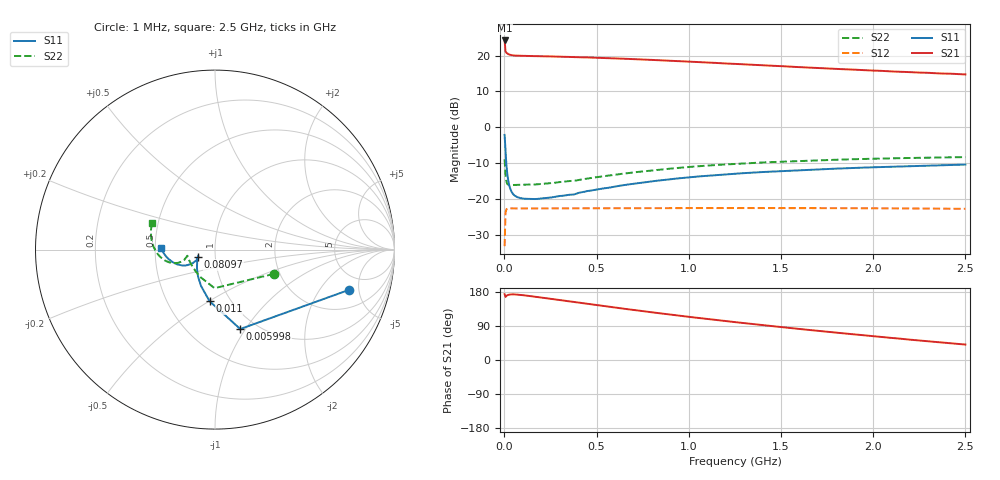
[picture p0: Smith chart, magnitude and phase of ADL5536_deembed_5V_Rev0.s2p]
!Agilent Technologies,N5230A,MY45000942,A.07.12.01
!Agilent N5230A: A.07.12.01
!Date: Thursday, January 07, 2010 11:00:11
!Correction: S11(Full 2 Port(1,2))
!S21(Full 2 Port(1,2))
!S12(Full 2 Port(1,2))
!S22(Full 2 Port(1,2))
!S2P File: Measurements: S11, S21, S12, S22:
# Hz S  dB  R 50
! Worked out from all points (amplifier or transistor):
!   501 points, 1 MHz to 2.5 GHz, reference 50 ohm
!   highest |S21| = 24.2 dB at 1 MHz (marker M1)
!   |S21| within 3 dB of that: start of sweep to 5.84 MHz
!   unconditionally stable (mu >= 1): 22.69 MHz to 886.1 MHz; 1.812 GHz to end of sweep
!   at 415.8 MHz: K = 1.03, MAG = 20.0 dB, |S12| = -22.6 dB
!   at 1.25 GHz: K = 0.99, MSG = 20.1 dB, |S12| = -22.6 dB
!   at 2.5 GHz: K = 1.07, MAG = 17.2 dB, |S12| = -22.8 dB
!   S11 on the Smith chart (normalised r, x): 1 MHz: 3.42, -3.92; 5.998 MHz: 0.84, -0.95; 11 MHz: 0.80, -0.50; 80.97 MHz: 0.82, -0.07; 2.5 GHz: 0.54, +0.01
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1000000  -2.16 -16.7  24.20 173.7  -33.22 47.9  -8.97 -22.3
5998000  -6.67 -72.4  21.10 166.6  -23.86 26.7  -13.35 -90.7
1.0996e7  -10.77 -95.9  20.77 169.4  -22.93 15.4  -15.25 -119.2
1.5994e7  -13.25 -110.9  20.56 171.1  -22.72 10.2  -15.88 -133.6
2.0992e7  -14.97 -121.8  20.39 172.0  -22.67 7.3  -16.08 -142.3
3.0988e7  -17.09 -136.0  20.20 172.8  -22.66 4.3  -16.16 -152.3
4.0984e7  -18.24 -144.4  20.06 173.2  -22.67 2.7  -16.15 -157.8
8.0968e7  -19.72 -157.1  19.93 172.0  -22.69 -0.2  -16.12 -165.7
2.85886e8  -19.35 -154.7  19.71 159.1  -22.65 -6.9  -15.43 -163.8
4.20832e8  -18.16 -149.9  19.49 150.1  -22.63 -10.7  -14.59 -160.7
5.35786e8  -17.10 -149.3  19.32 142.5  -22.64 -13.8  -13.70 -160.3
6.35746e8  -16.27 -149.0  19.12 136.2  -22.62 -16.5  -13.04 -160.5
7.40704e8  -15.53 -149.9  18.90 129.5  -22.62 -19.4  -12.41 -161.7
8.35666e8  -14.91 -151.1  18.68 123.7  -22.60 -22.0  -11.90 -163.1
1.015594e9  -13.94 -153.8  18.27 113.0  -22.59 -27.0  -11.06 -166.8
1.2505e9  -13.00 -158.1  17.66 100.0  -22.58 -33.7  -10.24 -172.3
1.420432e9  -12.47 -161.5  17.21 91.0  -22.60 -38.6  -9.81 -176.6
1.670332e9  -11.86 -166.0  16.59 78.4  -22.60 -45.7  -9.30 177.4
1.930228e9  -11.32 -170.8  15.97 66.0  -22.64 -53.3  -8.90 170.8
2.085166e9  -11.05 -173.7  15.60 58.8  -22.67 -57.9  -8.72 166.9
2.30008e9  -10.73 -177.6  15.16 49.2  -22.73 -64.3  -8.51 161.7
2.5e9  -10.44 178.8  14.72 40.7  -22.78 -70.3  -8.35 156.8
